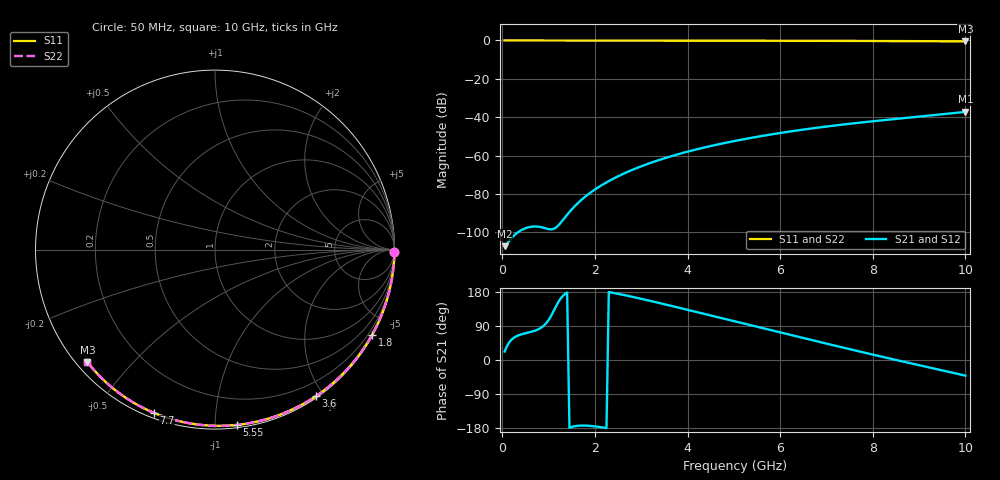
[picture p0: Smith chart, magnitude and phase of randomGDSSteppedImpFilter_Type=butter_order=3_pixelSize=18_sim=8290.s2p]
! freq	dB(S11)	phase(S11)	dB(S12)	phase(S12)
!  dB(S21)	phase(S21)	dB(S22)	phase(S22)
!S-par simulation data
#  GHz  S  DB  R 50
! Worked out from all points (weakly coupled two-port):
!   200 points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, 50 MHz to 10 GHz, reference 50 ohm
!   highest |S21| = -37.19 dB at 10 GHz (marker M1); lowest = -107.2 dB at 50 MHz (marker M2)
!   lowest |S11| = -0.5 dB at 10 GHz (marker M3), VSWR 37.34, Z = 1.53 - j18.9 ohm
!   |S11| at or under -10 dB: nowhere
!   |S22| runs from -0.5 to 0.0 dB; largest |S21 - S12| = 0
!   S11 on the Smith chart (normalised r, x): 50 MHz: open; 1.8 GHz: 0.03, -3.95; 3.6 GHz: 0.02, -1.90; 5.55 GHz: 0.02, -1.13; 7.7 GHz: 0.02, -0.69; 10 GHz: 0.03, -0.38
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0.05  -0.00 -0.8  -107.19 22.2  -107.19 22.2  -0.00 -0.8
0.45  -0.01 -7.2  -98.33 69.0  -98.33 69.0  -0.01 -7.2
0.9  -0.02 -14.3  -97.65 91.0  -97.65 91.0  -0.02 -14.3
1.75  -0.04 -27.6  -82.20 -173.0  -82.20 -173.0  -0.04 -27.6
1.8  -0.04 -28.4  -81.21 -173.1  -81.21 -173.1  -0.04 -28.4
1.85  -0.04 -29.2  -80.27 -173.4  -80.27 -173.4  -0.04 -29.2
1.9  -0.04 -30.0  -79.36 -173.9  -79.36 -173.9  -0.04 -30.0
2.05  -0.04 -32.3  -76.86 -175.9  -76.86 -175.9  -0.04 -32.3
2.25  -0.05 -35.3  -73.94 -179.7  -73.94 -179.7  -0.05 -35.3
2.65  -0.05 -41.4  -69.07 170.9  -69.07 170.9  -0.05 -41.4
3  -0.06 -46.6  -65.57 161.5  -65.57 161.5  -0.06 -46.6
3.4  -0.07 -52.6  -62.17 150.1  -62.17 150.1  -0.07 -52.6
3.6  -0.07 -55.5  -60.66 144.3  -60.66 144.3  -0.07 -55.5
4.3  -0.09 -65.5  -56.13 123.5  -56.13 123.5  -0.09 -65.5
5.05  -0.12 -76.0  -52.22 101.2  -52.22 101.2  -0.12 -76.0
5.55  -0.14 -82.8  -50.00 86.3  -50.00 86.3  -0.14 -82.8
6.1  -0.16 -90.1  -47.85 69.9  -47.85 69.9  -0.16 -90.1
6.7  -0.19 -97.9  -45.78 52.1  -45.78 52.1  -0.19 -97.9
7.7  -0.25 -110.5  -42.87 22.8  -42.87 22.8  -0.25 -110.5
8.35  -0.30 -118.5  -41.24 4.3  -41.24 4.3  -0.30 -118.5
9.2  -0.38 -128.9  -39.22 -19.1  -39.22 -19.1  -0.38 -128.9
10  -0.47 -138.6  -37.19 -41.3  -37.19 -41.3  -0.47 -138.6
